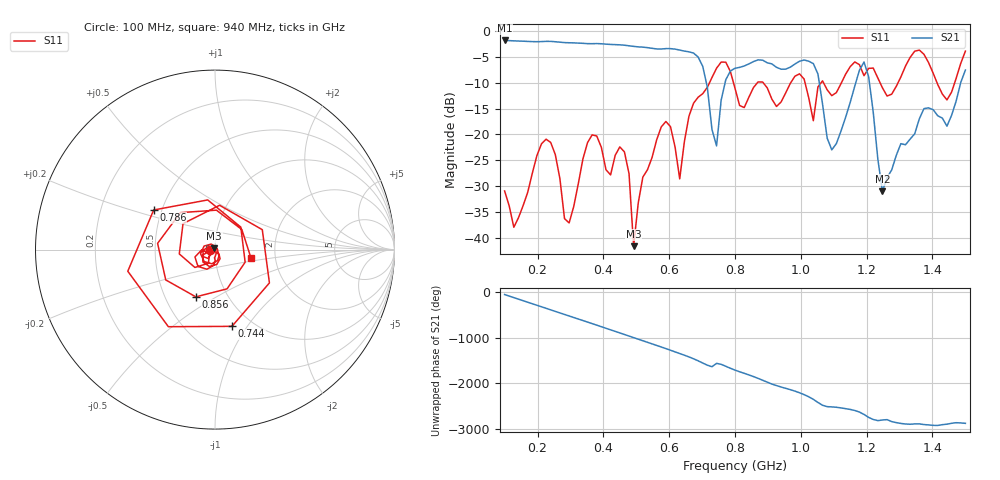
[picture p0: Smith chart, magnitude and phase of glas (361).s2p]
! NanoVNA-App
! Date: 2025-09-25 15:58:17
! Start: 100MHz Stop: 1,5GHz Points: 101
! S-Parameter data: F S11 S21 S12 S22
# Hz S RI R 50
!  Frequency  S11_Real  S11_Imag  S21_Real  S21_Imag  S12_Real  S12_Imag  S22_Real  S22_Imag
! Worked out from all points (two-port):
!   101 points, 100 MHz to 1.5 GHz, reference 50 ohm
!   highest |S21| = -1.80 dB at 100 MHz (marker M1); lowest = -31.0 dB at 1.248 GHz (marker M2)
!   |S21| within 3 dB of the highest: start of sweep to 684.2 MHz
!   lowest |S11| = -41.6 dB at 492 MHz (marker M3), VSWR 1.02, Z = 49.5 + j0.628 ohm
!   |S11| at or under -10 dB: start of sweep to 722.5 MHz; 795.4 MHz to 867.9 MHz (72.48 MHz wide, 8.72 % of centre); 885.8 MHz to 969.2 MHz (83.32 MHz wide, 8.98 % of centre) (the widest 3 of 7)
!   S12 and S22 are empty: the file has one direction only
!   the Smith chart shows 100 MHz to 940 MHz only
!   S11 on the Smith chart (normalised r, x): 100 MHz: 0.95, -0.01; 744 MHz: 0.81, -0.85; 786 MHz: 0.45, +0.24; 856 MHz: 0.71, -0.41; 940 MHz: 1.49, -0.15
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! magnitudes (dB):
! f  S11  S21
! 100 MHz  -30.9  -1.8
! 128 MHz  -38.0  -1.9
! 226 MHz  -20.9  -2.0
! 296 MHz  -37.1  -2.2
! 338 MHz  -24.7  -2.4
! 464 MHz  -23.4  -2.7
! 492 MHz  -41.6  -2.9
! 576 MHz  -18.5  -3.5
! 632 MHz  -28.6  -3.7
! 702 MHz  -12.1  -6.8
! 744 MHz  -7.2  -22.2
! 786 MHz  -7.8  -7.7
! 800 MHz  -11.1  -7.2
! 856 MHz  -10.9  -5.9
! 940 MHz  -13.7  -7.4
! 996 MHz  -8.3  -5.8
! 1.038 GHz  -17.3  -6.3
! 1.094 GHz  -12.5  -23.0
! 1.192 GHz  -8.6  -6.0
! 1.248 GHz  -11.0  -31.0
! 1.276 GHz  -12.2  -26.9
! 1.5 GHz  -3.9  -7.5
